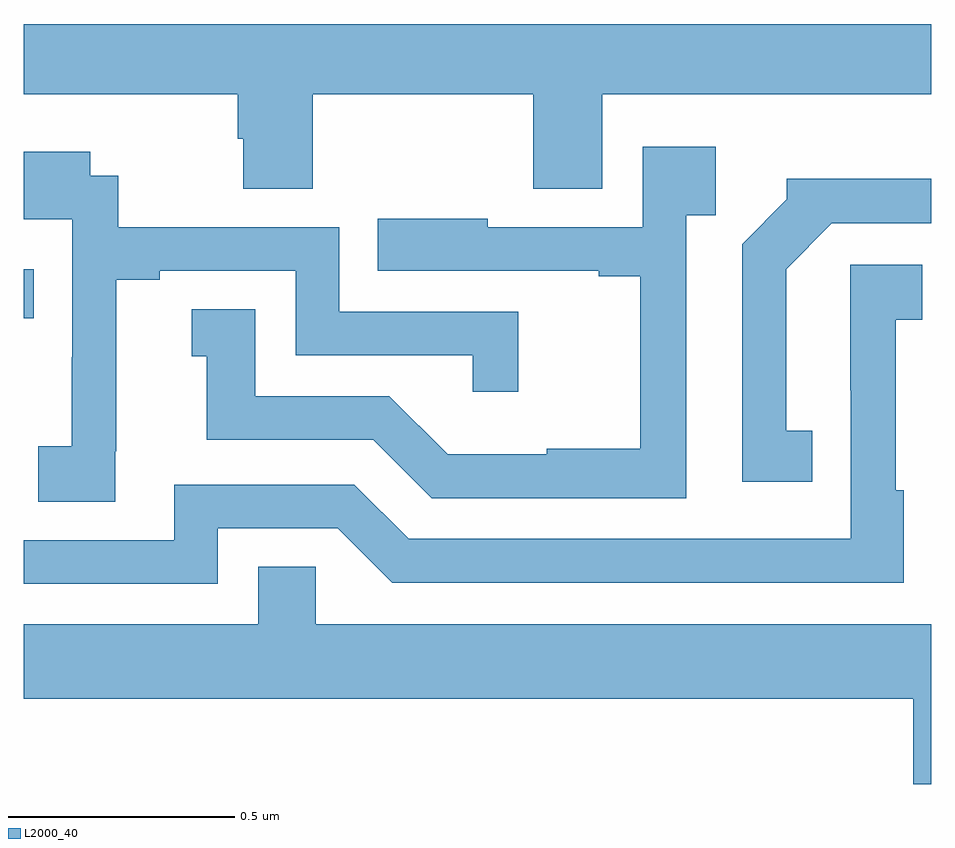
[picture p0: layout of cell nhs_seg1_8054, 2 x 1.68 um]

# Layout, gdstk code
import gdstk
lib = gdstk.Library(unit=1e-6, precision=1e-09)
def R(c, l, rs):  # rectangles x0, y0, x1, y1
    for r in rs: c.add(gdstk.rectangle(r[:2], r[2:], *l))
def P(c, l, *ps):  # polygons
    for p in ps: c.add(gdstk.Polygon(p, *l))
L2000_40 = (2000, 40)

nhs_seg1_8054 = lib.new_cell('nhs_seg1_8054')
R(nhs_seg1_8054, L2000_40, [(211,572.55,211.022,572.658)])
P(nhs_seg1_8054, L2000_40, [(211.637,573.044),(212.123,573.044),(212.123,572.836),(212.275,572.836),(212.275,573.044),(213,573.044),(213,573.199),(211,573.199),(211,573.044),(211.472,573.044),(211.472,572.946),(211.484,572.946),(211.484,572.836),(211.637,572.836)],
  [(212.46,572.777),(212.525,572.777),(212.525,572.929),(212.364,572.929),(212.364,572.751),(212.023,572.751),(212.023,572.77),(211.78,572.77),(211.78,572.655),(212.267,572.655),(212.267,572.643),(212.359,572.643),(212.359,572.263),(212.153,572.263),(212.153,572.251),(211.934,572.251),(211.806,572.379),(211.51,572.379),(211.51,572.57),(211.37,572.57),(211.37,572.467),(211.403,572.467),(211.403,572.283),(211.77,572.283),(211.899,572.154),(212.46,572.154)],
  [(211.202,572.257),(211.204,572.257),(211.204,572.635),(211.3,572.635),(211.3,572.655),(211.599,572.655),(211.599,572.469),(211.989,572.469),(211.989,572.388),(212.09,572.388),(212.09,572.565),(211.695,572.565),(211.695,572.751),(211.208,572.751),(211.208,572.865),(211.146,572.865),(211.146,572.917),(211,572.917),(211,572.769),(211.107,572.769),(211.107,572.465),(211.106,572.465),(211.106,572.268),(211.032,572.268),(211.032,572.146),(211.202,572.146)],
  [(212.738,572.303),(212.68,572.303),(212.68,572.659),(212.781,572.76),(213,572.76),(213,572.858),(212.682,572.858),(212.682,572.813),(212.583,572.714),(212.583,572.19),(212.738,572.19)],
  [(211.428,572.088),(211.692,572.088),(211.812,571.968),(212.939,571.968),(212.939,572.171),(212.922,572.171),(212.922,572.547),(212.98,572.547),(212.98,572.668),(212.822,572.668),(212.822,572.392),(212.823,572.392),(212.823,572.064),(211.848,572.064),(211.728,572.184),(211.332,572.184),(211.332,572.061),(211,572.061),(211,571.965),(211.428,571.965)],
  [(213,571.876),(211.644,571.876),(211.644,572.003),(211.517,572.003),(211.517,571.876),(211,571.876),(211,571.712),(212.96,571.712),(212.96,571.524),(213,571.524)])

lib.write_gds('nhs_seg1_8054.gds')
